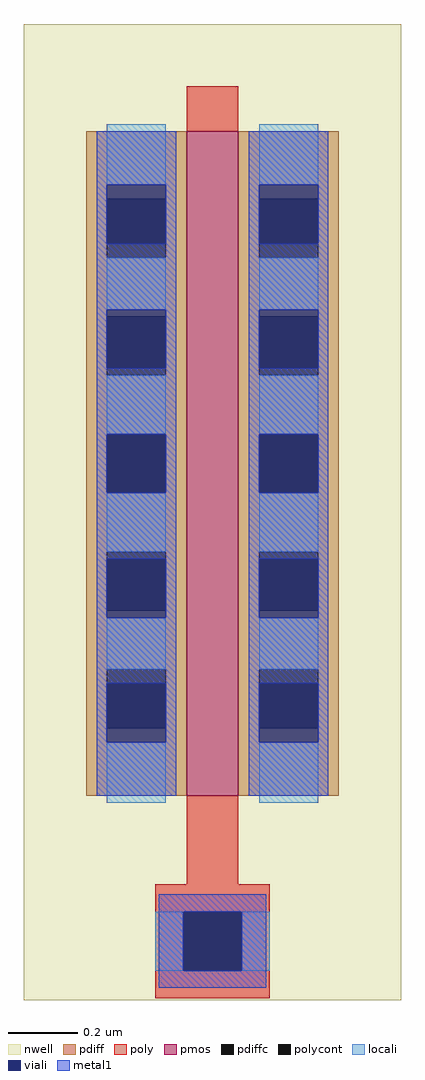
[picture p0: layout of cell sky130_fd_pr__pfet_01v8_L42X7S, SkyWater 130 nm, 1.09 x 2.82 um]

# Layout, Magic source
magic
tech sky130A
magscale 1 2
<< nwell >>
rect -109 -274 109 290
<< pmos >>
rect -15 -156 15 228
<< pdiff >>
rect -73 189 -15 228
rect -73 155 -61 189
rect -27 155 -15 189
rect -73 121 -15 155
rect -73 87 -61 121
rect -27 87 -15 121
rect -73 53 -15 87
rect -73 19 -61 53
rect -27 19 -15 53
rect -73 -15 -15 19
rect -73 -49 -61 -15
rect -27 -49 -15 -15
rect -73 -83 -15 -49
rect -73 -117 -61 -83
rect -27 -117 -15 -83
rect -73 -156 -15 -117
rect 15 189 73 228
rect 15 155 27 189
rect 61 155 73 189
rect 15 121 73 155
rect 15 87 27 121
rect 61 87 73 121
rect 15 53 73 87
rect 15 19 27 53
rect 61 19 73 53
rect 15 -15 73 19
rect 15 -49 27 -15
rect 61 -49 73 -15
rect 15 -83 73 -49
rect 15 -117 27 -83
rect 61 -117 73 -83
rect 15 -156 73 -117
<< pdiffc >>
rect -61 155 -27 189
rect -61 87 -27 121
rect -61 19 -27 53
rect -61 -49 -27 -15
rect -61 -117 -27 -83
rect 27 155 61 189
rect 27 87 61 121
rect 27 19 61 53
rect 27 -49 61 -15
rect 27 -117 61 -83
<< poly >>
rect -15 228 15 254
rect -15 -207 15 -156
rect -33 -223 33 -207
rect -33 -257 -17 -223
rect 17 -257 33 -223
rect -33 -273 33 -257
<< polycont >>
rect -17 -257 17 -223
<< locali >>
rect -61 197 -27 232
rect -61 125 -27 155
rect -61 53 -27 87
rect -61 -15 -27 19
rect -61 -83 -27 -53
rect -61 -160 -27 -125
rect 27 197 61 232
rect 27 125 61 155
rect 27 53 61 87
rect 27 -15 61 19
rect 27 -83 61 -53
rect 27 -160 61 -125
rect -33 -257 -17 -223
rect 17 -257 33 -223
<< viali >>
rect -61 189 -27 197
rect -61 163 -27 189
rect -61 121 -27 125
rect -61 91 -27 121
rect -61 19 -27 53
rect -61 -49 -27 -19
rect -61 -53 -27 -49
rect -61 -117 -27 -91
rect -61 -125 -27 -117
rect 27 189 61 197
rect 27 163 61 189
rect 27 121 61 125
rect 27 91 61 121
rect 27 19 61 53
rect 27 -49 61 -19
rect 27 -53 61 -49
rect 27 -117 61 -91
rect 27 -125 61 -117
rect -17 -257 17 -223
<< metal1 >>
rect -67 197 -21 228
rect -67 163 -61 197
rect -27 163 -21 197
rect -67 125 -21 163
rect -67 91 -61 125
rect -27 91 -21 125
rect -67 53 -21 91
rect -67 19 -61 53
rect -27 19 -21 53
rect -67 -19 -21 19
rect -67 -53 -61 -19
rect -27 -53 -21 -19
rect -67 -91 -21 -53
rect -67 -125 -61 -91
rect -27 -125 -21 -91
rect -67 -156 -21 -125
rect 21 197 67 228
rect 21 163 27 197
rect 61 163 67 197
rect 21 125 67 163
rect 21 91 27 125
rect 61 91 67 125
rect 21 53 67 91
rect 21 19 27 53
rect 61 19 67 53
rect 21 -19 67 19
rect 21 -53 27 -19
rect 61 -53 67 -19
rect 21 -91 67 -53
rect 21 -125 27 -91
rect 61 -125 67 -91
rect 21 -156 67 -125
rect -31 -223 31 -213
rect -31 -257 -17 -223
rect 17 -257 31 -223
rect -31 -267 31 -257
<< end >>
